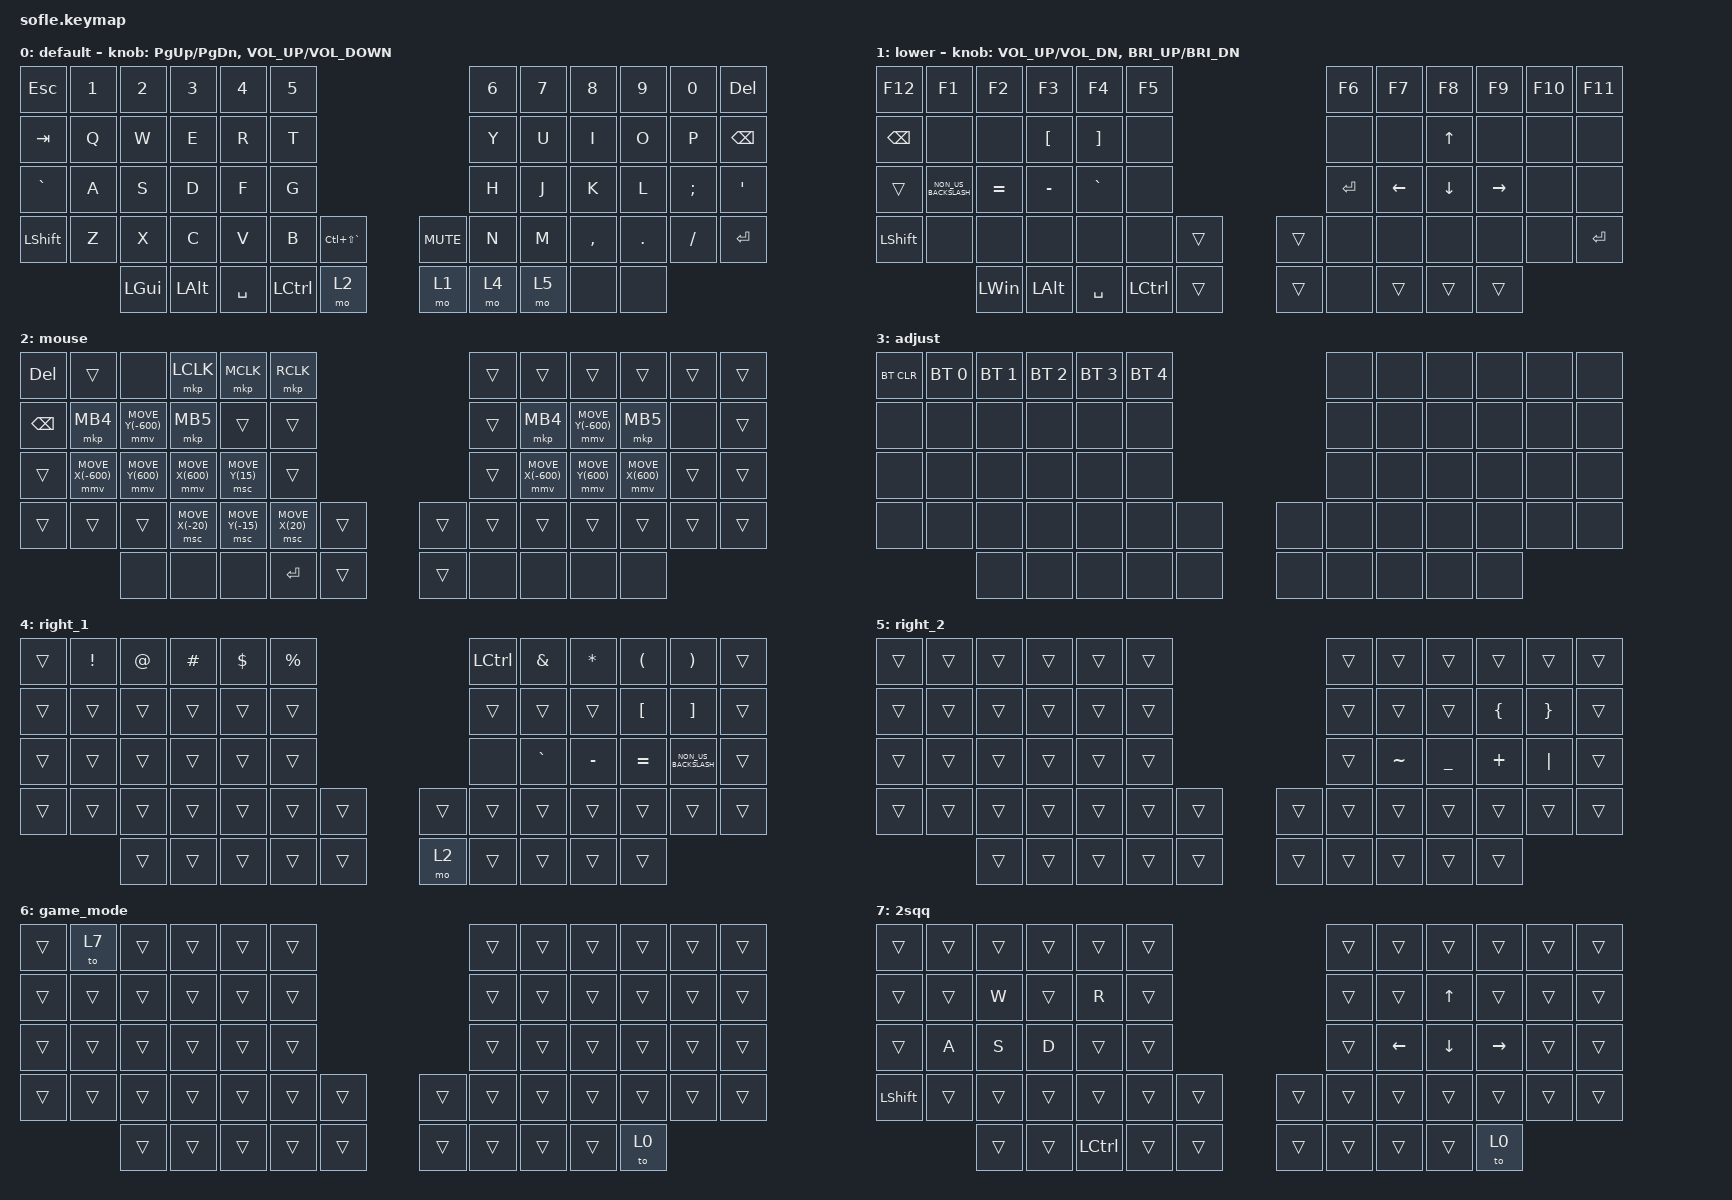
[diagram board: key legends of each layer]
/*
 * Copyright (c) 2020 The ZMK Contributors
 *
 * SPDX-License-Identifier: MIT
 */

#include <behaviors.dtsi>
#include <dt-bindings/zmk/bt.h>
#include <dt-bindings/zmk/keys.h>
#include <dt-bindings/zmk/pointing.h>

#define BASE 0
#define LOWER 1
#define RAISE 2
#define ADJUST 3

/ {
    // Activate ADJUST layer by pressing raise and lower

    conditional_layers {
        compatible = "zmk,conditional-layers";

        adjust_layer {
            if-layers = <1 2>;
            then-layer = <3>;
        };
    };

    keymap {
        compatible = "zmk,keymap";

        default_layer {
            label = "default";

            // ------------------------------------------------------------------------------------------------------------
            // |   `   |  1  |  2  |  3   |  4   |  5   |                   |  6   |  7    |  8    |  9   |   0   |       |
            // |  ESC  |  Q  |  W  |  E   |  R   |  T   |                   |  Y   |  U    |  I    |  O   |   P   | BKSPC |
            // |  TAB  |  A  |  S  |  D   |  F   |  G   |                   |  H   |  J    |  K    |  L   |   ;   |   '   |
            // | SHIFT |  Z  |  X  |  C   |  V   |  B   |  MUTE  |  |       |  N   |  M    |  ,    |  .   |   /   | SHIFT |
            //               | GUI | ALT  | CTRL | LOWER|  ENTER |  | SPACE | RAISE| CTRL  | ALT   | GUI  |

            bindings = <
&kp ESC    &kp N1  &kp N2    &kp N3    &kp N4     &kp N5                                             &kp N6  &kp N7  &kp N8     &kp N9   &kp N0    &kp DELETE
&kp TAB    &kp Q   &kp W     &kp E     &kp R      &kp T                                              &kp Y   &kp U   &kp I      &kp O    &kp P     &kp BSPC
&kp GRAVE  &kp A   &kp S     &kp D     &kp F      &kp G                                              &kp H   &kp J   &kp K      &kp L    &kp SEMI  &kp SQT
&kp LSHFT  &kp Z   &kp X     &kp C     &kp V      &kp B             &kp LC(LS(GRAVE))    &kp C_MUTE  &kp N   &kp M   &kp COMMA  &kp DOT  &kp FSLH  &kp ENTER
                   &kp LGUI  &kp LALT  &kp SPACE  &kp LEFT_CONTROL  &mo 2                &mo 1       &mo 4   &mo 5   &none      &none
            >;

            sensor-bindings =
                <&inc_dec_kp PAGE_UP PAGE_DOWN>,
                <&inc_dec_kp C_VOLUME_UP C_VOLUME_DOWN>;
        };

        lower_layer {
            label = "lower";

            // TODO: Some binds are waiting for shifted keycode support.
            // ------------------------------------------------------------------------------------------------------------
            // |       |  F1 |  F2 |  F3  |  F4  |  F5  |                   |  F6  |  F7   |  F8   |  F9  |  F10  |  F11  |
            // |   `   |  1  |  2  |  3   |  4   |  5   |                   |  6   |  7    |  8    |  9   |   0   |  F12  |
            // |       |  !  |  @  |  #   |  $   |  %   |                   |  ^   |  &    |  *    |  (   |   )   |   |   |
            // |       |  =  |  -  |  +   |  {   |  }   |        |  |       |  [   |  ]    |  ;    |  :   |   \   |       |
            //               |     |      |      |      |        |  |       |      |       |       |      |

            bindings = <
&kp F12         &kp F1                &kp F2        &kp F3            &kp F4             &kp F5                              &kp F6     &kp F7          &kp F8          &kp F9     &kp F10  &kp F11
&kp BACKSPACE   &none                 &none         &kp LEFT_BRACKET  &kp RIGHT_BRACKET  &none                               &none      &none           &kp UP_ARROW    &none      &none    &none
&trans          &kp NON_US_BACKSLASH  &kp EQUAL     &kp MINUS         &kp GRAVE          &none                               &kp ENTER  &kp LEFT_ARROW  &kp DOWN_ARROW  &kp RIGHT  &none    &none
&kp LEFT_SHIFT  &none                 &none         &none             &none              &none             &trans    &trans  &none      &none           &none           &none      &none    &kp ENTER
                                      &kp LEFT_WIN  &kp LEFT_ALT      &kp SPACE          &kp LEFT_CONTROL  &trans    &trans  &none      &trans          &trans          &trans
            >;

            sensor-bindings =
                <&inc_dec_kp C_VOL_UP C_VOL_DN>,
                <&inc_dec_kp C_BRI_UP C_BRI_DN>;
        };

        move_mouse {
            bindings = <
&kp DELETE     &trans             &none              &mkp LCLK         &mkp MCLK         &mkp RCLK                          &trans  &trans             &trans             &trans            &trans  &trans
&kp BACKSPACE  &mkp MB4           &mmv MOVE_Y(-600)  &mkp MB5          &trans            &trans                             &trans  &mkp MB4           &mmv MOVE_Y(-600)  &mkp MB5          &none   &trans
&trans         &mmv MOVE_X(-600)  &mmv MOVE_Y(600)   &mmv MOVE_X(600)  &msc MOVE_Y(15)   &trans                             &trans  &mmv MOVE_X(-600)  &mmv MOVE_Y(600)   &mmv MOVE_X(600)  &trans  &trans
&trans         &trans             &trans             &msc MOVE_X(-20)  &msc MOVE_Y(-15)  &msc MOVE_X(20)  &trans    &trans  &trans  &trans             &trans             &trans            &trans  &trans
                                  &none              &none             &none             &kp ENTER        &trans    &trans  &none   &none              &none              &none
            >;

            label = "mouse";
        };

        adjust_layer {
            // ----------------------------------------------------------------------------------------------------------------------------
            // | BTCLR  |  BT1    |  BT2    |   BT3   |   BT4   |   BT5   |                  |      |      |       |      |       |       |
            // | EXTPWR | RGB_HUD | RGB_HUI | RGB_SAD | RGB_SAI | RGB_EFF |                  |      |      |       |      |       |       |
            // |        | RGB_BRD | RGB_BRI |         |         |         |                  |      |      |       |      |       |       |
            // |        |         |         |         |         |         | RGB_TOG | |      |      |      |       |      |       |       |
            //                    |         |         |         |         |         | |      |      |      |       |      |

            label = "adjust";
            bindings = <
&bt BT_CLR  &bt BT_SEL 0  &bt BT_SEL 1  &bt BT_SEL 2  &bt BT_SEL 3  &bt BT_SEL 4                  &none  &none  &none  &none  &none  &none
&none       &none         &none         &none         &none         &none                         &none  &none  &none  &none  &none  &none
&none       &none         &none         &none         &none         &none                         &none  &none  &none  &none  &none  &none
&none       &none         &none         &none         &none         &none         &none    &none  &none  &none  &none  &none  &none  &none
                          &none         &none         &none         &none         &none    &none  &none  &none  &none  &none
            >;
        };

        right_1 {
            bindings = <
&trans  &kp EXCLAMATION  &kp AT_SIGN  &kp HASH  &kp DOLLAR  &kp PERCENT                    &kp LCTRL  &kp AMPERSAND  &kp ASTERISK  &kp LEFT_PARENTHESIS  &kp RIGHT_PARENTHESIS  &trans
&trans  &trans           &trans       &trans    &trans      &trans                         &trans     &trans         &trans        &kp LEFT_BRACKET      &kp RIGHT_BRACKET      &trans
&trans  &trans           &trans       &trans    &trans      &trans                         &none      &kp GRAVE      &kp MINUS     &kp EQUAL             &kp NON_US_BACKSLASH   &trans
&trans  &trans           &trans       &trans    &trans      &trans       &trans    &trans  &trans     &trans         &trans        &trans                &trans                 &trans
                         &trans       &trans    &trans      &trans       &trans    &mo 2   &trans     &trans         &trans        &trans
            >;
        };

        right_2 {
            bindings = <
&trans  &trans  &trans  &trans  &trans  &trans                    &trans  &trans     &trans          &trans          &trans           &trans
&trans  &trans  &trans  &trans  &trans  &trans                    &trans  &trans     &trans          &kp LEFT_BRACE  &kp RIGHT_BRACE  &trans
&trans  &trans  &trans  &trans  &trans  &trans                    &trans  &kp TILDE  &kp UNDERSCORE  &kp PLUS        &kp PIPE         &trans
&trans  &trans  &trans  &trans  &trans  &trans  &trans    &trans  &trans  &trans     &trans          &trans          &trans           &trans
                &trans  &trans  &trans  &trans  &trans    &trans  &trans  &trans     &trans          &trans
            >;
        };

        game_mode {
            bindings = <
&trans  &to 7   &trans  &trans  &trans  &trans                    &trans  &trans  &trans  &trans  &trans  &trans
&trans  &trans  &trans  &trans  &trans  &trans                    &trans  &trans  &trans  &trans  &trans  &trans
&trans  &trans  &trans  &trans  &trans  &trans                    &trans  &trans  &trans  &trans  &trans  &trans
&trans  &trans  &trans  &trans  &trans  &trans  &trans    &trans  &trans  &trans  &trans  &trans  &trans  &trans
                &trans  &trans  &trans  &trans  &trans    &trans  &trans  &trans  &trans  &to 0
            >;
        };

        zingspeed {
            bindings = <
&trans          &trans  &trans  &trans  &trans            &trans                    &trans  &trans          &trans          &trans     &trans  &trans
&trans          &trans  &kp W   &trans  &kp R             &trans                    &trans  &trans          &kp UP_ARROW    &trans     &trans  &trans
&trans          &kp A   &kp S   &kp D   &trans            &trans                    &trans  &kp LEFT_ARROW  &kp DOWN_ARROW  &kp RIGHT  &trans  &trans
&kp LEFT_SHIFT  &trans  &trans  &trans  &trans            &trans  &trans    &trans  &trans  &trans          &trans          &trans     &trans  &trans
                        &trans  &trans  &kp LEFT_CONTROL  &trans  &trans    &trans  &trans  &trans          &trans          &to 0
            >;

            label = "2sqq";
        };
    };
};
